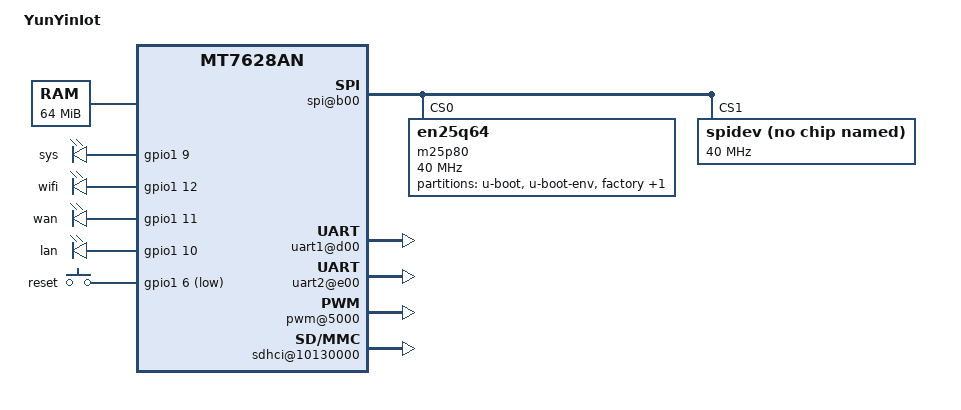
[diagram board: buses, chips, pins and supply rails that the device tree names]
/dts-v1/;

/include/ "mt7628an.dtsi"

/ {
	compatible = "mediatek,YunYinIot", "mediatek,mt7628an-soc";
	model = "YunYinIot";
	
	chosen {
                bootargs = "console=ttyS0,57600";
        };

	memory@0 {
		device_type = "memory";
	    //reg = <0x0 0x10000000>;//256MB 
		//reg = <0x0 0x8000000>;//128MB
		reg = <0x0 0x4000000>;//64MB
	};

	pinctrl {
		state_default: pinctrl0 {
			gpio {
				ralink,group = "spis","i2c","i2s","perst","refclk","p0_led_an","p1_led_an","p2_led_an","p3_led_an","p4_led_an","wled_an","wdt","gpio" ;
				ralink,function = "gpio";
			};

			uart2 {
				ralink,group = "uart2";
				ralink,function = "uart2";
			};
			
			uart1 {
				ralink,group = "uart1";
				ralink,function = "uart1";
			};

			uart0 {
				ralink,group = "uart0";
				ralink,function = "uart0";
			};

		};
	};

	palmbus@10000000 {
	 	
		spi@b00 {
			status = "okay";
			pinctrl-names = "default";
			pinctrl-0 = <&spi_pins>, <&spi_cs1_pins>;
			m25p80@0 {
				#address-cells = <1>;
				#size-cells = <1>;
				compatible = "en25q64";
				reg = <0 0>;
				linux,modalias = "w25q64", "w25q128","w25q256";
				spi-max-frequency = <40000000>;
				m25p,chunked-io = <31>;

				partition@0 {
					label = "u-boot";
					reg = <0x0 0x30000>;
					read-only;
				};

				partition@30000 {
					label = "u-boot-env";
					reg = <0x30000 0x10000>;
					read-only;
				};

				factory: partition@40000 {
					label = "factory";
					reg = <0x40000 0x10000>;
					read-only;
				};

				partition@50000 {
					label = "firmware";
					//reg = <0x50000 0x7b0000>;//8MB
					reg = <0x50000 0xfb0000>;//16MB
					//reg = <0x50000 0x1fb0000>; //32MB
					
				};
			};
			spidev@1 {
				#address-cells = <1>;
				#size-cells = <1>;
				compatible = "spidev";
				reg = <1 0>;
				spi-max-frequency = <40000000>;
			};
		};
		
		uart1@d00 {
			status = "okay";
		};

		uart2@e00 {
			status = "okay";
		};
		
		pwm@5000 {
			status = "okay";
		};
	};

	sdhci@10130000 {
		status = "okay";
		mediatek,cd-low;
	};

	ethernet@10100000 {
		mtd-mac-address = <&factory 0x28>;
	};


	gpio-leds {
		compatible = "gpio-leds";

		sys {
			label = "sys";
			gpios = <&gpio1 9 0>;
			default-state = "off";
		};

		wifi {
			label = "wifi";
			gpios = <&gpio1 12 0>;
			default-state = "off";
		};

		wan {
			label = "wan";
			gpios = <&gpio1 11 0>;
			default-state = "off";
		};

		lan {
			label = "lan";
			gpios = <&gpio1 10 0>;
			default-state = "off";
		};

	};

	gpio-keys-polled {
            compatible = "gpio-keys-polled";
			#address-cells = <1>;
			#size-cells = <0>;
			poll-interval = <20>;
			reset {
					label = "reset";
					gpios = <&gpio1 6 1>;
					linux,code = <0x198>;
			};

        };	

};
